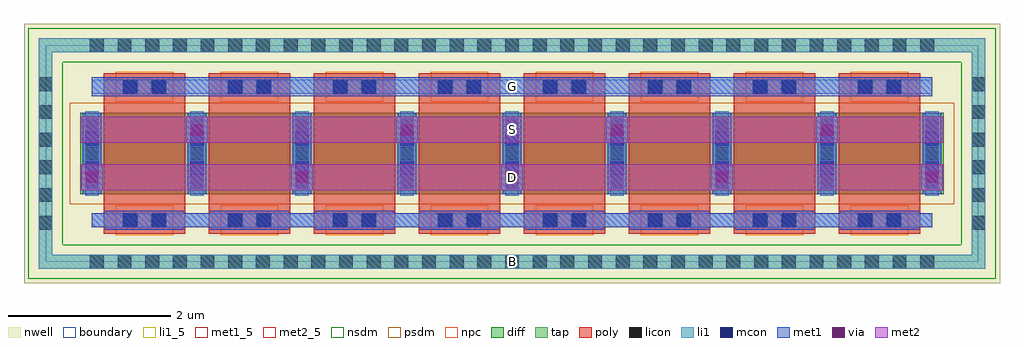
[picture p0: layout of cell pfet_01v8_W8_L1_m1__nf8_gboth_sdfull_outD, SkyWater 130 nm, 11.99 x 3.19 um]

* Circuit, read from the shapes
.subckt pfet_01v8_W8_L1_m1__nf8_gboth_sdfull_outD B D G S
XM1 S G D B sky130_fd_pr__pfet_01v8 w=1 l=1 m=8
.ends

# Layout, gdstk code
import gdstk
lib = gdstk.Library(unit=1e-6, precision=1e-09)
def R(c, l, rs):  # rectangles x0, y0, x1, y1
    for r in rs: c.add(gdstk.rectangle(r[:2], r[2:], *l))
def A(c, l, x, y, w, h, nx, ny, dx, dy):  # array of equal rectangles
    R(c, l, [(x+i*dx, y+j*dy, x+i*dx+w, y+j*dy+h) for i in range(nx) for j in range(ny)])
nwell = (64, 20)
diff = (65, 20)
tap = (65, 44)
poly = (66, 20)
licon = (66, 44)
li1_5 = (67, 5)
li1 = (67, 20)
mcon = (67, 44)
met1_5 = (68, 5)
met1 = (68, 20)
via = (68, 44)
met2_5 = (69, 5)
met2 = (69, 20)
nsdm = (93, 44)
psdm = (94, 20)
npc = (95, 20)
boundary = (235, 4)

sky130_fd_pr__pfet_01v8_ = lib.new_cell('sky130_fd_pr__pfet_01v8_UB7NJZ')
R(sky130_fd_pr__pfet_01v8_, nwell, [(-5.995,-1.595,5.995,1.595)])
R(sky130_fd_pr__pfet_01v8_, diff, [(-5.305,-0.5,5.305,0.5)])
R(sky130_fd_pr__pfet_01v8_, tap, [(-5.815,-1.415,5.815,-1.245), (-5.815,-1.245,-5.645,1.245), (5.645,-1.245,5.815,1.245), (-5.815,1.245,5.815,1.415)])
A(sky130_fd_pr__pfet_01v8_, poly, -5.015, -0.985, 1, 1.97, 8, 1, 1.29, 0)
A(sky130_fd_pr__pfet_01v8_, licon, -5.185, -1.415, 0.17, 0.17, 31, 2, 0.34, 2.66)
A(sky130_fd_pr__pfet_01v8_, licon, -5.815, -0.935, 0.17, 0.17, 1, 6, 0, 0.34)
A(sky130_fd_pr__pfet_01v8_, licon, 5.645, -0.935, 0.17, 0.17, 1, 6, 0, 0.34)
A(sky130_fd_pr__pfet_01v8_, licon, -5.245, -0.425, 0.17, 0.17, 9, 3, 1.29, 0.34)
R(sky130_fd_pr__pfet_01v8_, licon, [(-4.77,-0.905,-4.6,-0.735), (-4.43,-0.905,-4.26,-0.735), (-3.48,-0.905,-3.31,-0.735), (-3.14,-0.905,-2.97,-0.735), (-2.19,-0.905,-2.02,-0.735), (-1.85,-0.905,-1.68,-0.735), (-0.9,-0.905,-0.73,-0.735), (-0.56,-0.905,-0.39,-0.735), (0.39,-0.905,0.56,-0.735), (0.73,-0.905,0.9,-0.735), (1.68,-0.905,1.85,-0.735), (2.02,-0.905,2.19,-0.735), (2.97,-0.905,3.14,-0.735), (3.31,-0.905,3.48,-0.735), (4.26,-0.905,4.43,-0.735), (4.6,-0.905,4.77,-0.735), (-4.77,0.735,-4.6,0.905), (-4.43,0.735,-4.26,0.905), (-3.48,0.735,-3.31,0.905), (-3.14,0.735,-2.97,0.905), (-2.19,0.735,-2.02,0.905), (-1.85,0.735,-1.68,0.905), (-0.9,0.735,-0.73,0.905), (-0.56,0.735,-0.39,0.905), (0.39,0.735,0.56,0.905), (0.73,0.735,0.9,0.905), (1.68,0.735,1.85,0.905), (2.02,0.735,2.19,0.905), (2.97,0.735,3.14,0.905), (3.31,0.735,3.48,0.905), (4.26,0.735,4.43,0.905), (4.6,0.735,4.77,0.905)])
A(sky130_fd_pr__pfet_01v8_, li1, -5.245, -0.52, 0.17, 1.04, 9, 1, 1.29, 0)
R(sky130_fd_pr__pfet_01v8_, li1, [(-5.815,-1.415,5.815,-1.245), (-5.815,-1.245,-5.645,1.245), (5.645,-1.245,5.815,1.245), (-5.16,-0.905,5.16,-0.735), (-5.16,0.735,5.16,0.905), (-5.815,1.245,5.815,1.415)])
A(sky130_fd_pr__pfet_01v8_, mcon, -5.245, -0.265, 0.17, 0.17, 9, 2, 1.29, 0.36)
R(sky130_fd_pr__pfet_01v8_, mcon, [(-4.78,-0.905,-4.61,-0.735), (-4.42,-0.905,-4.25,-0.735), (-3.49,-0.905,-3.32,-0.735), (-3.13,-0.905,-2.96,-0.735), (-2.2,-0.905,-2.03,-0.735), (-1.84,-0.905,-1.67,-0.735), (-0.91,-0.905,-0.74,-0.735), (-0.55,-0.905,-0.38,-0.735), (0.38,-0.905,0.55,-0.735), (0.74,-0.905,0.91,-0.735), (1.67,-0.905,1.84,-0.735), (2.03,-0.905,2.2,-0.735), (2.96,-0.905,3.13,-0.735), (3.32,-0.905,3.49,-0.735), (4.25,-0.905,4.42,-0.735), (4.61,-0.905,4.78,-0.735), (-4.78,0.735,-4.61,0.905), (-4.42,0.735,-4.25,0.905), (-3.49,0.735,-3.32,0.905), (-3.13,0.735,-2.96,0.905), (-2.2,0.735,-2.03,0.905), (-1.84,0.735,-1.67,0.905), (-0.91,0.735,-0.74,0.905), (-0.55,0.735,-0.38,0.905), (0.38,0.735,0.55,0.905), (0.74,0.735,0.91,0.905), (1.67,0.735,1.84,0.905), (2.03,0.735,2.2,0.905), (2.96,0.735,3.13,0.905), (3.32,0.735,3.49,0.905), (4.25,0.735,4.42,0.905), (4.61,0.735,4.78,0.905)])
A(sky130_fd_pr__pfet_01v8_, met1, -4.995, -0.935, 0.96, 0.03, 8, 2, 1.29, 0.2)
A(sky130_fd_pr__pfet_01v8_, met1, -5.275, -0.5, 0.23, 1, 9, 1, 1.29, 0)
A(sky130_fd_pr__pfet_01v8_, met1, -4.995, 0.705, 0.96, 0.03, 8, 2, 1.29, 0.2)
R(sky130_fd_pr__pfet_01v8_, met1, [(-5.16,-0.905,5.16,-0.735), (-5.16,0.735,5.16,0.905)])
R(sky130_fd_pr__pfet_01v8_, nsdm, [(-5.94,-1.54,5.94,-1.12), (-5.94,-1.12,-5.52,1.12), (5.52,-1.12,5.94,1.12), (-5.94,1.12,5.94,1.54)])
R(sky130_fd_pr__pfet_01v8_, psdm, [(-5.43,-0.625,5.43,0.625)])
A(sky130_fd_pr__pfet_01v8_, npc, -4.87, -1.005, 0.71, 0.37, 8, 2, 1.29, 1.64)
R(sky130_fd_pr__pfet_01v8_, boundary, [(-5.73,-1.33,5.73,1.33)])
sky130_fd_pr__pfet_01v8_.add(gdstk.Label('B', (0,-1.33), layer=67, texttype=5))
sky130_fd_pr__pfet_01v8_.add(gdstk.Label('D0', (-5.16,0), layer=67, texttype=5))
sky130_fd_pr__pfet_01v8_.add(gdstk.Label('G', (4.515,0.82), layer=67, texttype=5))
sky130_fd_pr__pfet_01v8_.add(gdstk.Label('G', (3.225,0.82), layer=67, texttype=5))
sky130_fd_pr__pfet_01v8_.add(gdstk.Label('G', (1.935,0.82), layer=67, texttype=5))
sky130_fd_pr__pfet_01v8_.add(gdstk.Label('G', (0.645,0.82), layer=67, texttype=5))
sky130_fd_pr__pfet_01v8_.add(gdstk.Label('G', (-0.645,0.82), layer=67, texttype=5))
sky130_fd_pr__pfet_01v8_.add(gdstk.Label('G', (-1.935,0.82), layer=67, texttype=5))
sky130_fd_pr__pfet_01v8_.add(gdstk.Label('G', (-3.225,0.82), layer=67, texttype=5))
sky130_fd_pr__pfet_01v8_.add(gdstk.Label('G', (-4.515,0.82), layer=67, texttype=5))
sky130_fd_pr__pfet_01v8_.add(gdstk.Label('S1', (-3.87,0), layer=67, texttype=5))
sky130_fd_pr__pfet_01v8_.add(gdstk.Label('D2', (-2.58,0), layer=67, texttype=5))
sky130_fd_pr__pfet_01v8_.add(gdstk.Label('S3', (-1.29,0), layer=67, texttype=5))
sky130_fd_pr__pfet_01v8_.add(gdstk.Label('D4', (0,0), layer=67, texttype=5))
sky130_fd_pr__pfet_01v8_.add(gdstk.Label('S5', (1.29,0), layer=67, texttype=5))
sky130_fd_pr__pfet_01v8_.add(gdstk.Label('D6', (2.58,0), layer=67, texttype=5))
sky130_fd_pr__pfet_01v8_.add(gdstk.Label('S7', (3.87,0), layer=67, texttype=5))

pfet_01v8_w8_l1_m1__nf8_ = lib.new_cell('pfet_01v8_W8_L1_m1__nf8_gboth_sdfull_outD')
R(pfet_01v8_w8_l1_m1__nf8_, li1_5, [(5.645,-0.085,5.815,0.085)])
R(pfet_01v8_w8_l1_m1__nf8_, li1, [(5.645,-0.085,5.815,0.085)])
R(pfet_01v8_w8_l1_m1__nf8_, met1_5, [(0.57,2.035,10.89,2.265)])
A(pfet_01v8_w8_l1_m1__nf8_, met1, 0.44, 0.88, 0.26, 0.32, 5, 1, 2.58, 0)
A(pfet_01v8_w8_l1_m1__nf8_, met1, 1.73, 1.46, 0.26, 0.32, 4, 1, 2.58, 0)
R(pfet_01v8_w8_l1_m1__nf8_, met1, [(0.57,2.035,10.89,2.265)])
A(pfet_01v8_w8_l1_m1__nf8_, via, 0.495, 0.965, 0.15, 0.15, 5, 1, 2.58, 0)
A(pfet_01v8_w8_l1_m1__nf8_, via, 1.785, 1.545, 0.15, 0.15, 4, 1, 2.58, 0)
R(pfet_01v8_w8_l1_m1__nf8_, met2_5, [(0.435,0.88,11.025,1.2), (0.435,1.46,11.025,1.78)])
R(pfet_01v8_w8_l1_m1__nf8_, met2, [(0.435,0.88,11.025,1.2), (0.435,1.46,11.025,1.78)])
pfet_01v8_w8_l1_m1__nf8_.add(gdstk.Reference(sky130_fd_pr__pfet_01v8_, (5.73,1.33)))
pfet_01v8_w8_l1_m1__nf8_.add(gdstk.Label('S', (5.73,1.62), layer=69, texttype=5))
pfet_01v8_w8_l1_m1__nf8_.add(gdstk.Label('D', (5.73,1.04), layer=69, texttype=5))
pfet_01v8_w8_l1_m1__nf8_.add(gdstk.Label('G', (5.73,2.15), layer=68, texttype=5))
pfet_01v8_w8_l1_m1__nf8_.add(gdstk.Label('B', (5.73,0), layer=67, texttype=5))

lib.write_gds('pfet_01v8_W8_L1_m1__nf8_gboth_sdfull_outD.gds')
